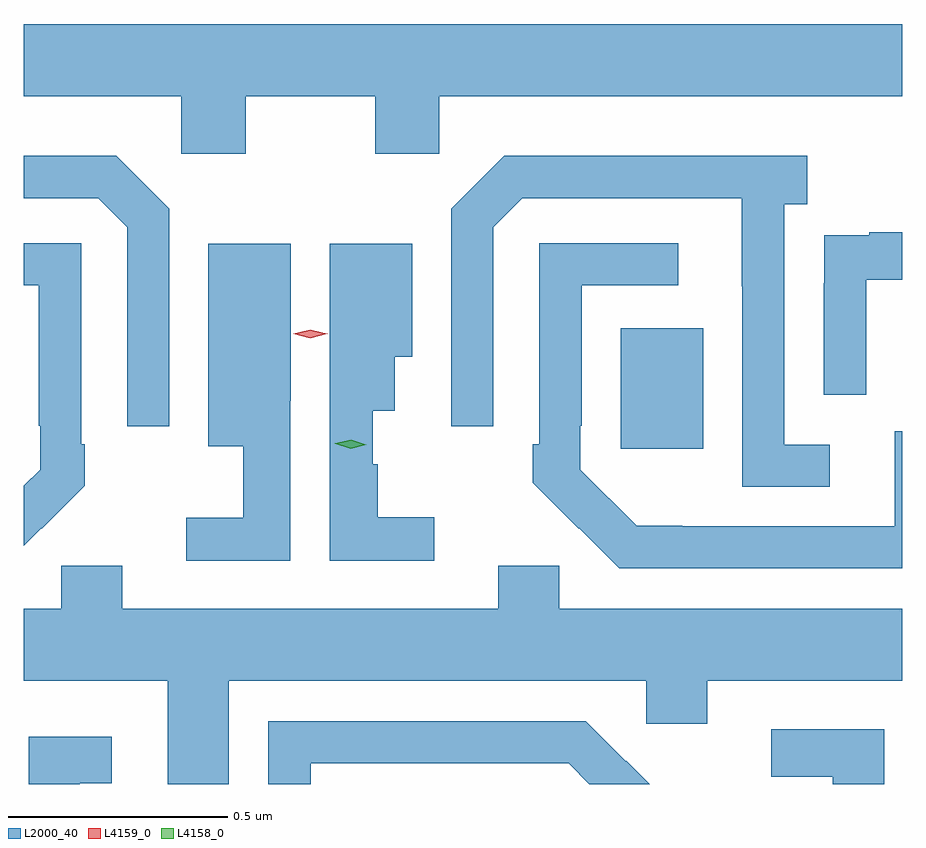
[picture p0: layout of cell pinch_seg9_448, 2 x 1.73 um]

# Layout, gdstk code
import gdstk
lib = gdstk.Library(unit=1e-6, precision=1e-09)
def R(c, l, rs):  # rectangles x0, y0, x1, y1
    for r in rs: c.add(gdstk.rectangle(r[:2], r[2:], *l))
def P(c, l, *ps):  # polygons
    for p in ps: c.add(gdstk.Polygon(p, *l))
L2000_40 = (2000, 40)
L4158_0 = (4158, 0)
L4159_0 = (4159, 0)

pinch_seg9_448 = lib.new_cell('pinch_seg9_448')
R(pinch_seg9_448, L2000_40, [(161.135,1243.569,161.323,1243.843)])
P(pinch_seg9_448, L2000_40, [(160.281,1244.372),(160.576,1244.372),(160.576,1244.241),(160.722,1244.241),(160.722,1244.372),(161.776,1244.372),(161.776,1244.536),(159.776,1244.536),(159.776,1244.372),(160.134,1244.372),(160.134,1244.241),(160.281,1244.241)],
  [(160.107,1244.115),(159.986,1244.236),(159.776,1244.236),(159.776,1244.139),(159.945,1244.139),(160.011,1244.073),(160.011,1243.62),(160.107,1243.62)],
  [(161.611,1243.578),(161.508,1243.578),(161.508,1244.126),(161.56,1244.126),(161.56,1244.236),(160.87,1244.236),(160.749,1244.115),(160.749,1243.62),(160.845,1243.62),(160.845,1244.073),(160.911,1244.139),(161.411,1244.139),(161.411,1243.939),(161.412,1243.939),(161.412,1243.482),(161.611,1243.482)],
  [(161.694,1243.953),(161.776,1243.953),(161.776,1244.062),(161.701,1244.062),(161.701,1244.055),(161.599,1244.055),(161.599,1243.946),(161.598,1243.946),(161.598,1243.692),(161.694,1243.692)],
  [(159.815,1243.387),(159.816,1243.386),(159.914,1243.484),(159.914,1243.579),(159.906,1243.579),(159.906,1244.037),(159.776,1244.037),(159.776,1243.941),(159.81,1243.941),(159.81,1243.621),(159.813,1243.621),(159.813,1243.521),(159.776,1243.484),(159.776,1243.348)],
  [(161.776,1243.608),(161.759,1243.608),(161.759,1243.392),(161.275,1243.392),(161.275,1243.393),(161.172,1243.393),(161.043,1243.521),(161.043,1243.621),(161.046,1243.621),(161.046,1243.941),(161.266,1243.941),(161.266,1244.037),(160.95,1244.037),(160.95,1243.579),(160.935,1243.579),(160.935,1243.491),(161.04,1243.386),(161.041,1243.387),(161.132,1243.296),(161.776,1243.296)],
  [(160.711,1243.413),(160.582,1243.413),(160.582,1243.533),(160.571,1243.533),(160.571,1243.655),(160.621,1243.655),(160.621,1243.778),(160.66,1243.778),(160.66,1244.035),(160.472,1244.035),(160.472,1243.782),(160.473,1243.782),(160.473,1243.314),(160.711,1243.314)],
  [(160.383,1243.678),(160.384,1243.678),(160.384,1244.035),(160.196,1244.035),(160.196,1243.574),(160.275,1243.574),(160.275,1243.411),(160.146,1243.411),(160.146,1243.314),(160.383,1243.314)],
  [(160.243,1243.04),(161.193,1243.04),(161.193,1242.942),(161.332,1242.942),(161.332,1243.04),(161.776,1243.04),(161.776,1243.204),(160.995,1243.204),(160.995,1243.302),(160.856,1243.302),(160.856,1243.204),(160,1243.204),(160,1243.302),(159.861,1243.302),(159.861,1243.204),(159.776,1243.204),(159.776,1243.04),(160.103,1243.04),(160.103,1242.805),(160.243,1242.805)],
  [(160.429,1242.852),(161.017,1242.852),(161.064,1242.805),(161.201,1242.805),(161.148,1242.858),(161.147,1242.857),(161.056,1242.948),(160.332,1242.948),(160.332,1242.805),(160.429,1242.805)],
  [(161.735,1242.93),(161.478,1242.93),(161.478,1242.822),(161.618,1242.822),(161.618,1242.805),(161.735,1242.805)],
  [(159.903,1242.807),(159.976,1242.807),(159.976,1242.913),(159.787,1242.913),(159.787,1242.805),(159.903,1242.805)])
P(pinch_seg9_448, L4158_0, [(160.52,1243.569),(160.485,1243.58),(160.484,1243.581),(160.485,1243.581),(160.521,1243.589),(160.556,1243.578),(160.556,1243.578),(160.556,1243.578)])
P(pinch_seg9_448, L4159_0, [(160.428,1243.82),(160.389,1243.83),(160.389,1243.83),(160.389,1243.83),(160.428,1243.84),(160.467,1243.83),(160.468,1243.83),(160.467,1243.83)])

lib.write_gds('pinch_seg9_448.gds')
